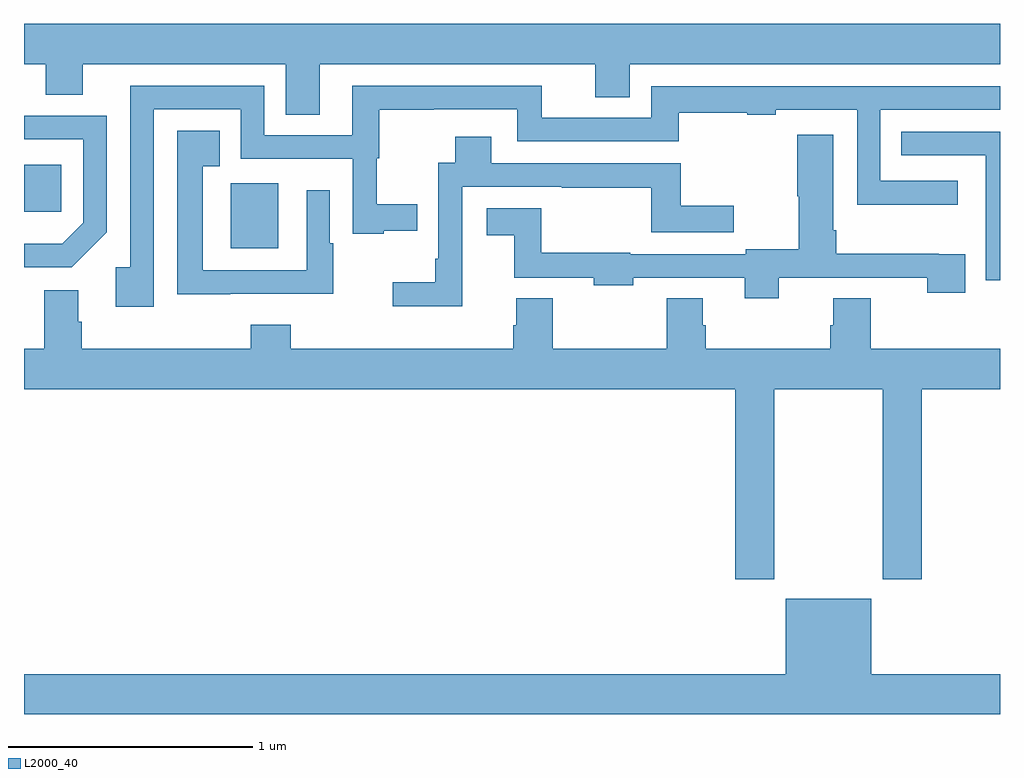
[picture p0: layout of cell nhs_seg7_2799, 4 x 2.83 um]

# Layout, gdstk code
import gdstk
lib = gdstk.Library(unit=1e-6, precision=1e-09)
def R(c, l, rs):  # rectangles x0, y0, x1, y1
    for r in rs: c.add(gdstk.rectangle(r[:2], r[2:], *l))
def P(c, l, *ps):  # polygons
    for p in ps: c.add(gdstk.Polygon(p, *l))
L2000_40 = (2000, 40)

nhs_seg7_2799 = lib.new_cell('nhs_seg7_2799')
R(nhs_seg7_2799, L2000_40, [(291.848,1034.492,292.042,1034.76), (291,1034.642,291.153,1034.836)])
P(nhs_seg7_2799, L2000_40, [(292.213,1035.248),(293.342,1035.248),(293.342,1035.112),(293.482,1035.112),(293.482,1035.248),(295,1035.248),(295,1035.412),(291,1035.412),(291,1035.248),(291.089,1035.248),(291.089,1035.121),(291.241,1035.121),(291.241,1035.248),(292.073,1035.248),(292.073,1035.04),(292.213,1035.04)],
  [(291.531,1035.063),(291.888,1035.063),(291.888,1034.859),(292.347,1034.859),(292.347,1034.553),(292.475,1034.553),(292.475,1034.564),(292.612,1034.564),(292.612,1034.674),(292.446,1034.674),(292.446,1034.862),(292.456,1034.862),(292.456,1035.061),(292.679,1035.061),(292.679,1035.063),(293.022,1035.063),(293.022,1034.931),(293.683,1034.931),(293.683,1035.048),(293.964,1035.048),(293.964,1035.04),(294.08,1035.04),(294.08,1035.06),(294.414,1035.06),(294.414,1034.672),(294.826,1034.672),(294.826,1034.769),(294.51,1034.769),(294.51,1035.06),(295,1035.06),(295,1035.156),(293.571,1035.156),(293.571,1035.027),(293.121,1035.027),(293.121,1035.159),(292.346,1035.159),(292.346,1034.955),(291.984,1034.955),(291.984,1035.159),(291.435,1035.159),(291.435,1034.414),(291.375,1034.414),(291.375,1034.253),(291.531,1034.253)],
  [(291.339,1034.558),(291.339,1035.036),(291,1035.036),(291,1034.94),(291.243,1034.94),(291.243,1034.598),(291.157,1034.512),(291,1034.512),(291,1034.415),(291.196,1034.415)],
  [(291.845,1034.307),(292.267,1034.307),(292.267,1034.514),(292.254,1034.514),(292.254,1034.731),(292.158,1034.731),(292.158,1034.403),(291.733,1034.403),(291.733,1034.828),(291.803,1034.828),(291.803,1034.974),(291.629,1034.974),(291.629,1034.305),(291.845,1034.305)],
  [(295,1034.97),(294.595,1034.97),(294.595,1034.874),(294.942,1034.874),(294.942,1034.362),(295,1034.362)],
  [(294.094,1034.373),(294.701,1034.373),(294.701,1034.31),(294.857,1034.31),(294.857,1034.469),(294.749,1034.469),(294.749,1034.471),(294.329,1034.471),(294.329,1034.566),(294.316,1034.566),(294.316,1034.959),(294.169,1034.959),(294.169,1034.706),(294.176,1034.706),(294.176,1034.489),(293.958,1034.489),(293.958,1034.469),(293.484,1034.469),(293.484,1034.474),(293.119,1034.474),(293.119,1034.656),(292.896,1034.656),(292.896,1034.546),(293.009,1034.546),(293.009,1034.373),(293.336,1034.373),(293.336,1034.342),(293.496,1034.342),(293.496,1034.373),(293.954,1034.373),(293.954,1034.288),(294.094,1034.288)],
  [(292.796,1034.745),(293.203,1034.745),(293.203,1034.74),(293.571,1034.74),(293.571,1034.559),(293.908,1034.559),(293.908,1034.668),(293.692,1034.668),(293.692,1034.841),(292.915,1034.841),(292.915,1034.95),(292.768,1034.95),(292.768,1034.844),(292.698,1034.844),(292.698,1034.449),(292.686,1034.449),(292.686,1034.353),(292.512,1034.353),(292.512,1034.255),(292.796,1034.255)],
  [(294.075,1033.916),(294.52,1033.916),(294.52,1033.137),(294.68,1033.137),(294.68,1033.916),(295,1033.916),(295,1034.08),(294.47,1034.08),(294.47,1034.288),(294.317,1034.288),(294.317,1034.178),(294.305,1034.178),(294.305,1034.08),(293.795,1034.08),(293.795,1034.178),(293.782,1034.178),(293.782,1034.288),(293.635,1034.288),(293.635,1034.08),(293.166,1034.08),(293.166,1034.288),(293.018,1034.288),(293.018,1034.178),(293.006,1034.178),(293.006,1034.08),(292.094,1034.08),(292.094,1034.179),(291.929,1034.179),(291.929,1034.08),(291.236,1034.08),(291.236,1034.192),(291.223,1034.192),(291.223,1034.32),(291.083,1034.32),(291.083,1034.08),(291,1034.08),(291,1033.916),(293.915,1033.916),(293.915,1033.137),(294.075,1033.137)],
  [(295,1032.748),(294.472,1032.748),(294.472,1033.057),(294.122,1033.057),(294.122,1032.748),(291,1032.748),(291,1032.584),(295,1032.584)])

lib.write_gds('nhs_seg7_2799.gds')
